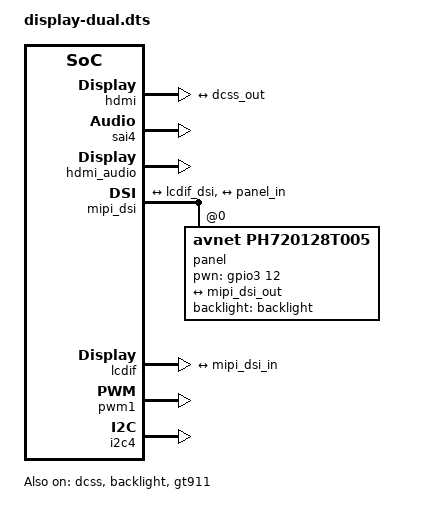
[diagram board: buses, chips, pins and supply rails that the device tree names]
/*
 * Copyright 2023 AVNET
 *
 * This program is free software; you can redistribute it and/or
 * modify it under the terms of the GNU General Public License
 * as published by the Free Software Foundation; either version 2
 * of the License, or (at your option) any later version.
 *
 * This program is distributed in the hope that it will be useful,
 * but WITHOUT ANY WARRANTY; without even the implied warranty of
 * MERCHANTABILITY or FITNESS FOR A PARTICULAR PURPOSE.  See the
 * GNU General Public License for more details.
 */

/dts-v1/;
/plugin/;

#include <dt-bindings/gpio/gpio.h>
#include "../imx8mq-pinfunc.h"

/* Device tree overlay for both HDMI and MIPI LCD display */

/* HDMI connect to DCSS */
&dcss{
	status = "okay";
	port@0 {
		dcss_out: endpoint {
			remote-endpoint = <&hdmi_in>;
		};
	};
};

&hdmi{
	status = "okay";
	port@1 {
		hdmi_in: endpoint {
			remote-endpoint = <&dcss_out>;
		};
	};
};

&sai4{
	status = "okay";
};

&hdmi_audio{
	status = "okay";
};

/* MIPI LCD connect to LCDIF */

&mipi_dsi{
	#address-cells = <1>;
	#size-cells = <0>;
	status = "okay";

	panel@0 {
		compatible = "avnet,ph720128t005", "ilitek,ili9881c";
		//compatible = "avnet,ph720128t003", "ilitek,ili9881c";
		reg = <0>;
		pinctrl-names = "default";
		pinctrl-0 = <&pinctrl_mipi_dsi_en>;
		pwn-gpios = <&gpio3 12 GPIO_ACTIVE_HIGH>;
		dsi-lanes = <2>;
		backlight = <&backlight>;

		port {
			panel_in: endpoint {
				remote-endpoint = <&mipi_dsi_out>;
			};
		};
	};

	ports {
		#address-cells = <1>;
		#size-cells = <0>;

		port@0 {
			#address-cells = <1>;
			#size-cells = <0>;
			reg = <0>;
			mipi_dsi_in: endpoint@1 {
				reg = <1>;
				remote-endpoint = <&lcdif_dsi>;
			};
		};

		port@1 {
			reg = <1>;
			mipi_dsi_out: endpoint {
				remote-endpoint = <&panel_in>;
			};
		};
	};
};

&lcdif {
	status = "okay";
	port@0 {
		lcdif_dsi: endpoint {
			remote-endpoint = <&mipi_dsi_in>;
		};
	};
};

&pwm1{
	status = "okay";
};

&backlight{
	status = "okay";
};

&i2c4{
	status = "okay";
};

/* For Avnet PH720128T005 LCD display */
&gt911{
	status = "okay";
};

/* For Avnet PH720128T003 LCD display */
&ft5426{
	status = "disabled";
};

&iomuxc {
	pinctrl_mipi_dsi_en: mipi_dsi_en {
		fsl,pins = <
			MX8MQ_IOMUXC_NAND_DATA06_GPIO3_IO12			0x16  /* DSI_EN */
		>;
	};
};
